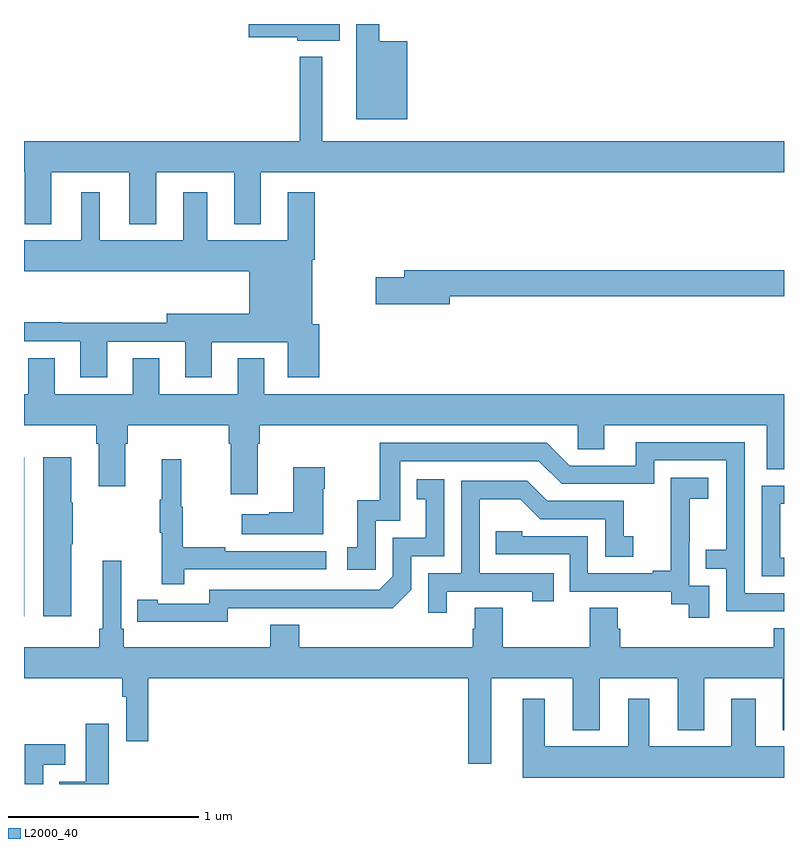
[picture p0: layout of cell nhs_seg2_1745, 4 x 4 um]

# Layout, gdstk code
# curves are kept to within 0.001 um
import gdstk
lib = gdstk.Library(unit=1e-6, precision=1e-09)
def R(c, l, rs):  # rectangles x0, y0, x1, y1
    for r in rs: c.add(gdstk.rectangle(r[:2], r[2:], *l))
def P(c, l, *ps):  # polygons
    for p in ps: c.add(gdstk.Polygon(p, *l))
L2000_40 = (2000, 40)

nhs_seg2_1745 = lib.new_cell('nhs_seg2_1745')
R(nhs_seg2_1745, L2000_40, [(203,594.684,203.002,595.519)])
P(nhs_seg2_1745, L2000_40, [(205.018,597.709),(204.871,597.709),(204.871,597.8),(204.749,597.8),(204.749,597.299),(205.018,597.299)],
  [(204.661,597.8),(204.182,597.8),(204.182,597.731),(204.438,597.731),(204.438,597.713),(204.661,597.713)],
  [(203.143,597.02),(203.555,597.02),(203.555,596.747),(203.695,596.747),(203.695,597.02),(204.107,597.02),(204.107,596.747),(204.247,596.747),(204.247,597.02),(207,597.02),(207,597.184),(204.571,597.184),(204.571,597.628),(204.45,597.628),(204.45,597.184),(203,597.184),(203,597.02),(203.003,597.02),(203.003,596.747),(203.143,596.747)],
  [(203.437,596.127),(203.849,596.127),(203.849,595.941),(203.989,595.941),(203.989,596.126),(204.389,596.126),(204.389,595.941),(204.554,595.941),(204.554,596.22),(204.517,596.22),(204.517,596.558),(204.53,596.558),(204.53,596.914),(204.389,596.914),(204.389,596.662),(203.965,596.662),(203.965,596.914),(203.837,596.914),(203.837,596.662),(203.398,596.662),(203.398,596.914),(203.3,596.914),(203.3,596.662),(203,596.662),(203,596.498),(204.185,596.498),(204.185,596.275),(203.75,596.275),(203.75,596.228),(203.201,596.228),(203.201,596.231),(203,596.231),(203,596.13),(203.297,596.13),(203.297,595.941),(203.437,595.941)],
  [(205.24,596.368),(207,596.368),(207,596.504),(205.001,596.504),(205.001,596.468),(204.852,596.468),(204.852,596.326),(205.24,596.326)],
  [(204.229,595.592),(204.242,595.592),(204.242,595.688),(205.914,595.688),(205.914,595.561),(206.053,595.561),(206.053,595.688),(206.909,595.688),(206.909,595.456),(207,595.456),(207,595.852),(204.265,595.852),(204.265,596.041),(204.125,596.041),(204.125,595.852),(203.713,595.852),(203.713,596.042),(203.573,596.042),(203.573,595.852),(203.161,595.852),(203.161,596.042),(203.022,596.042),(203.022,595.852),(203,595.852),(203,595.688),(203.381,595.688),(203.381,595.592),(203.393,595.592),(203.393,595.368),(203.533,595.368),(203.533,595.592),(203.546,595.592),(203.546,595.688),(204.077,595.688),(204.077,595.592),(204.089,595.592),(204.089,595.326),(204.229,595.326)],
  [(207,594.804),(206.793,594.804),(206.793,595.599),(206.219,595.599),(206.219,595.476),(205.872,595.476),(205.752,595.596),(204.873,595.596),(204.873,595.294),(204.755,595.294),(204.755,595.047),(204.702,595.047),(204.702,594.927),(204.852,594.927),(204.852,595.185),(204.981,595.185),(204.981,595.5),(205.71,595.5),(205.83,595.38),(206.316,595.38),(206.316,595.503),(206.697,595.503),(206.697,595.034),(206.587,595.034),(206.587,594.933),(206.697,594.933),(206.697,594.708),(207,594.708)],
  [(203.248,595.063),(203.256,595.063),(203.256,595.28),(203.248,595.28),(203.248,595.519),(203.102,595.519),(203.102,594.684),(203.248,594.684)],
  [(203.843,594.93),(204.592,594.93),(204.592,595.026),(204.059,595.026),(204.059,595.046),(203.836,595.046),(203.836,595.26),(203.828,595.26),(203.828,595.51),(203.726,595.51),(203.726,595.297),(203.715,595.297),(203.715,595.123),(203.726,595.123),(203.726,594.852),(203.843,594.852)],
  [(204.574,595.355),(204.582,595.355),(204.582,595.468),(204.416,595.468),(204.416,595.229),(204.29,595.229),(204.29,595.219),(204.147,595.219),(204.147,595.115),(204.574,595.115)],
  [(206.607,594.843),(206.502,594.843),(206.502,595.073),(206.504,595.073),(206.504,595.301),(206.602,595.301),(206.602,595.411),(206.404,595.411),(206.404,595.205),(206.405,595.205),(206.405,594.922),(206.309,594.922),(206.309,594.909),(205.968,594.909),(205.968,595.104),(205.623,595.104),(205.623,595.131),(205.483,595.131),(205.483,595.008),(205.872,595.008),(205.872,594.813),(206.406,594.813),(206.406,594.745),(206.499,594.745),(206.499,594.675),(206.607,594.675)],
  [(204.072,594.726),(204.94,594.725),(205.038,594.822),(205.038,594.999),(205.212,594.999),(205.212,595.405),(205.066,595.405),(205.066,595.299),(205.115,595.299),(205.115,595.095),(204.942,595.095),(204.942,594.894),(204.87,594.822),(203.976,594.822),(203.976,594.75),(203.704,594.75),(203.704,594.77),(203.596,594.77),(203.596,594.654),(204.072,594.653)],
  [(205.225,594.813),(205.676,594.813),(205.676,594.762),(205.787,594.762),(205.787,594.909),(205.398,594.909),(205.398,595.298),(205.612,595.298),(205.716,595.194),(206.058,595.194),(206.058,594.996),(206.206,594.996),(206.206,595.105),(206.157,595.105),(206.157,595.29),(205.753,595.29),(205.648,595.395),(205.302,595.395),(205.302,594.909),(205.128,594.909),(205.128,594.702),(205.225,594.702)],
  [(207,594.99),(206.979,594.99),(206.979,595.275),(207,595.275),(207,595.371),(206.883,595.371),(206.883,594.894),(207,594.894)],
  [(205.459,594.356),(205.889,594.356),(205.889,594.083),(206.029,594.083),(206.029,594.356),(206.441,594.356),(206.441,594.083),(206.581,594.083),(206.581,594.356),(206.993,594.356),(206.993,594.083),(207,594.083),(207,594.619),(206.945,594.619),(206.945,594.52),(206.138,594.52),(206.138,594.618),(206.125,594.618),(206.125,594.728),(205.978,594.728),(205.978,594.52),(205.521,594.52),(205.521,594.728),(205.373,594.728),(205.373,594.618),(205.361,594.618),(205.361,594.52),(204.449,594.52),(204.449,594.637),(204.296,594.637),(204.296,594.52),(203.525,594.52),(203.525,594.616),(203.511,594.616),(203.511,594.976),(203.414,594.976),(203.414,594.616),(203.395,594.616),(203.395,594.52),(203,594.52),(203,594.356),(203.518,594.356),(203.518,594.26),(203.538,594.26),(203.538,594.024),(203.654,594.024),(203.654,594.356),(205.338,594.356),(205.338,593.907),(205.459,593.907)],
  [(207,593.998),(206.851,593.998),(206.851,594.25),(206.723,594.25),(206.723,593.998),(206.29,593.998),(206.29,594.25),(206.18,594.25),(206.18,593.998),(205.741,593.998),(205.741,594.25),(205.625,594.25),(205.625,593.834),(207,593.834)],
  [(203.446,594.118),(203.324,594.118),(203.324,593.812),(203.185,593.812),(203.185,593.8),(203.446,593.8)],
  [(203.1,593.901),(203.218,593.901),(203.218,594.01),(203.004,594.01),(203.004,593.8),(203.1,593.8)])

lib.write_gds('nhs_seg2_1745.gds')
